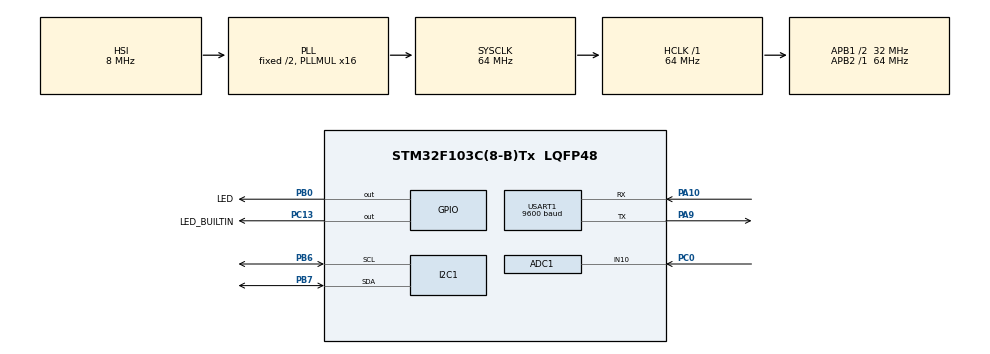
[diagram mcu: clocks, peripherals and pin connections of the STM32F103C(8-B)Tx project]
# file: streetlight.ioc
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ADC1.Channel-0\#ChannelRegularConversion=ADC_CHANNEL_10
ADC1.NbrOfConversionFlag=1
ADC1.Rank-0\#ChannelRegularConversion=1
ADC1.SamplingTime-0\#ChannelRegularConversion=ADC_SAMPLETIME_55CYCLES_5
ADC1.master=1
Mcu.Family=STM32F1
Mcu.Name=STM32F103C(8-B)Tx
Mcu.Package=LQFP48
NVIC.PriorityGroup=NVIC_PRIORITYGROUP_4
PA13.Signal=SYS_JTMS-SWDIO
PA14.Signal=SYS_JTCK-SWCLK
PB0.GPIO_Label=LED
PB0.GPIO_ModeDefaultOutputPP=GPIO_MODE_OUTPUT_PP
PB0.GPIO_PuPd=GPIO_NOPULL
PB0.GPIO_Speed=GPIO_SPEED_FREQ_LOW
PB0.Signal=GPIO_Output
PC13.GPIO_Label=LED_BUILTIN
PC13.GPIO_ModeDefaultOutputPP=GPIO_MODE_OUTPUT_PP
PC13.GPIO_PuPd=GPIO_NOPULL
PC13.GPIO_Speed=GPIO_SPEED_FREQ_LOW
PC13.Signal=GPIO_Output
PC0.Signal=ADCx_IN10
PA10.Mode=Asynchronous
PA10.Signal=USART1_RX
PA9.Mode=Asynchronous
PA9.Signal=USART1_TX
PB6.Mode=I2C
PB6.Signal=I2C1_SCL
PB7.Mode=I2C
PB7.Signal=I2C1_SDA
ProjectManager.HeapSize=0x200
ProjectManager.StackSize=0x400
ProjectManager.TargetToolchain=STM32CubeIDE
RCC.ADCPresc=RCC_ADCPCLK2_DIV6
RCC.AHBFreq_Value=64000000
RCC.APB1CLKDivider=RCC_HCLK_DIV2
RCC.APB1Freq_Value=32000000
RCC.APB1TimFreq_Value=64000000
RCC.APB2Freq_Value=64000000
RCC.APB2TimFreq_Value=64000000
RCC.HCLKFreq_Value=64000000
RCC.PLLMUL=RCC_PLL_MUL16
RCC.SYSCLKFreq_VALUE=64000000
RCC.SYSCLKSource=RCC_SYSCLKSOURCE_PLLCLK
RCC.USBFreq_Value=64000000
SH.ADCx_IN10.0=ADC1_IN10,IN10
SYS.Debug=Serial_Wire
USART1.BaudRate=9600
USART1.VirtualMode=VM_ASYNC
VP_SYS_VS_ND.Mode=No_Debug
board=custom

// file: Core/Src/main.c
/* USER CODE BEGIN Header */
/**
  ******************************************************************************
  * @file           : main.c
  * @brief          : Main program body
  ******************************************************************************
  * @attention
  *
  * Copyright (c) 2026 STMicroelectronics.
  * All rights reserved.
  *
  * This software is licensed under terms that can be found in the LICENSE file
  * in the root directory of this software component.
  * If no LICENSE file comes with this software, it is provided AS-IS.
  *
  ******************************************************************************
  */
/* USER CODE END Header */
#include "main.h"

/* USER CODE BEGIN Includes */
#include <stdio.h>

/* USER CODE END Includes */

/* USER CODE BEGIN PD */
#define LIGHT_DARK_THRESHOLD 2000U
#define LIGHT_THRESHOLD_HYSTERESIS 100U
#define LDR_DARK_READING_IS_LOW 1U
#define ADC_POLL_TIMEOUT_MS 100U
#define UART_TX_TIMEOUT_MS 100U

/* USER CODE END PD */

ADC_HandleTypeDef hadc1;

I2C_HandleTypeDef hi2c1;

UART_HandleTypeDef huart1;

/* USER CODE BEGIN PV */
static uint8_t is_dark = 0U;

/* USER CODE END PV */

void SystemClock_Config(void);
static void MX_GPIO_Init(void);
static void MX_ADC1_Init(void);
static void MX_I2C1_Init(void);
static void MX_USART1_UART_Init(void);

int main(void)
{

  /* MCU Configuration--------------------------------------------------------*/

  /* Reset of all peripherals, Initializes the Flash interface and the Systick. */
  HAL_Init();

  /* Configure the system clock */
  SystemClock_Config();

  /* Initialize all configured peripherals */
  MX_GPIO_Init();
  MX_ADC1_Init();
  MX_I2C1_Init();
  MX_USART1_UART_Init();
  /* USER CODE BEGIN 2 */
  if (HAL_ADCEx_Calibration_Start(&hadc1) != HAL_OK)
  {
    Error_Handler();
  }

  /* USER CODE END 2 */

  /* Infinite loop */
  while (1)
  {

    /* USER CODE BEGIN 3 */
    uint32_t light_level;
    char uart_message[40];
    int message_length;

    if (HAL_ADC_Start(&hadc1) == HAL_OK)
    {
      if (HAL_ADC_PollForConversion(&hadc1, ADC_POLL_TIMEOUT_MS) == HAL_OK)
      {
        light_level = HAL_ADC_GetValue(&hadc1);
        HAL_ADC_Stop(&hadc1);

#if LDR_DARK_READING_IS_LOW
        if (is_dark != 0U)
        {
          if (light_level >= LIGHT_DARK_THRESHOLD + LIGHT_THRESHOLD_HYSTERESIS)
          {
            is_dark = 0U;
          }
        }
        else if (light_level <= LIGHT_DARK_THRESHOLD)
        {
          is_dark = 1U;
        }
#else
        if (is_dark != 0U)
        {
          if (light_level <= LIGHT_DARK_THRESHOLD - LIGHT_THRESHOLD_HYSTERESIS)
          {
            is_dark = 0U;
          }
        }
        else if (light_level >= LIGHT_DARK_THRESHOLD)
        {
          is_dark = 1U;
        }
#endif

        HAL_GPIO_WritePin(GPIOB, GPIO_PIN_0, is_dark ? GPIO_PIN_SET : GPIO_PIN_RESET);
        HAL_GPIO_WritePin(GPIOC, GPIO_PIN_13, is_dark ? GPIO_PIN_RESET : GPIO_PIN_SET);
        message_length = snprintf(uart_message, sizeof(uart_message),
                                  "LIGHT=%lu;STATE=%s\r\n",
                                  (unsigned long)light_level,
                                  is_dark ? "NIGHT" : "DAY");
        if ((message_length > 0) && ((size_t)message_length < sizeof(uart_message)))
        {
          if (HAL_UART_Transmit(&huart1, (uint8_t *)uart_message,
                                (uint16_t)message_length, UART_TX_TIMEOUT_MS) != HAL_OK)
          {
            HAL_UART_AbortTransmit(&huart1);
          }
        }
      }
      else
      {
        HAL_ADC_Stop(&hadc1);
      }
    }
    HAL_Delay(1000U);
  }
  /* USER CODE END 3 */
}

void SystemClock_Config(void)
{
  RCC_OscInitTypeDef RCC_OscInitStruct = {0};
  RCC_ClkInitTypeDef RCC_ClkInitStruct = {0};
  RCC_PeriphCLKInitTypeDef PeriphClkInit = {0};

  /** Initializes the RCC Oscillators according to the specified parameters
  * in the RCC_OscInitTypeDef structure.
  */
  RCC_OscInitStruct.OscillatorType = RCC_OSCILLATORTYPE_HSI;
  RCC_OscInitStruct.HSIState = RCC_HSI_ON;
  RCC_OscInitStruct.HSICalibrationValue = RCC_HSICALIBRATION_DEFAULT;
  RCC_OscInitStruct.PLL.PLLState = RCC_PLL_ON;
  RCC_OscInitStruct.PLL.PLLSource = RCC_PLLSOURCE_HSI_DIV2;
  RCC_OscInitStruct.PLL.PLLMUL = RCC_PLL_MUL16;
  if (HAL_RCC_OscConfig(&RCC_OscInitStruct) != HAL_OK)
  {
    Error_Handler();
  }

  /** Initializes the CPU, AHB and APB buses clocks
  */
  RCC_ClkInitStruct.ClockType = RCC_CLOCKTYPE_HCLK|RCC_CLOCKTYPE_SYSCLK
                              |RCC_CLOCKTYPE_PCLK1|RCC_CLOCKTYPE_PCLK2;
  RCC_ClkInitStruct.SYSCLKSource = RCC_SYSCLKSOURCE_PLLCLK;
  RCC_ClkInitStruct.AHBCLKDivider = RCC_SYSCLK_DIV1;
  RCC_ClkInitStruct.APB1CLKDivider = RCC_HCLK_DIV2;
  RCC_ClkInitStruct.APB2CLKDivider = RCC_HCLK_DIV1;

  if (HAL_RCC_ClockConfig(&RCC_ClkInitStruct, FLASH_LATENCY_2) != HAL_OK)
  {
    Error_Handler();
  }
  PeriphClkInit.PeriphClockSelection = RCC_PERIPHCLK_ADC;
  PeriphClkInit.AdcClockSelection = RCC_ADCPCLK2_DIV6;
  if (HAL_RCCEx_PeriphCLKConfig(&PeriphClkInit) != HAL_OK)
  {
    Error_Handler();
  }
}

static void MX_ADC1_Init(void)
{

  ADC_ChannelConfTypeDef sConfig = {0};

  /** Common config
  */
  hadc1.Instance = ADC1;
  hadc1.Init.ScanConvMode = ADC_SCAN_DISABLE;
  hadc1.Init.ContinuousConvMode = DISABLE;
  hadc1.Init.DiscontinuousConvMode = DISABLE;
  hadc1.Init.ExternalTrigConv = ADC_SOFTWARE_START;
  hadc1.Init.DataAlign = ADC_DATAALIGN_RIGHT;
  hadc1.Init.NbrOfConversion = 1;
  if (HAL_ADC_Init(&hadc1) != HAL_OK)
  {
    Error_Handler();
  }

  /** Configure Regular Channel
  */
  sConfig.Channel = ADC_CHANNEL_10;
  sConfig.Rank = ADC_REGULAR_RANK_1;
  sConfig.SamplingTime = ADC_SAMPLETIME_55CYCLES_5;
  if (HAL_ADC_ConfigChannel(&hadc1, &sConfig) != HAL_OK)
  {
    Error_Handler();
  }

}

static void MX_I2C1_Init(void)
{

  hi2c1.Instance = I2C1;
  hi2c1.Init.ClockSpeed = 100000;
  hi2c1.Init.DutyCycle = I2C_DUTYCYCLE_2;
  hi2c1.Init.OwnAddress1 = 0;
  hi2c1.Init.AddressingMode = I2C_ADDRESSINGMODE_7BIT;
  hi2c1.Init.DualAddressMode = I2C_DUALADDRESS_DISABLE;
  hi2c1.Init.OwnAddress2 = 0;
  hi2c1.Init.GeneralCallMode = I2C_GENERALCALL_DISABLE;
  hi2c1.Init.NoStretchMode = I2C_NOSTRETCH_DISABLE;
  if (HAL_I2C_Init(&hi2c1) != HAL_OK)
  {
    Error_Handler();
  }

}

static void MX_USART1_UART_Init(void)
{

  huart1.Instance = USART1;
  huart1.Init.BaudRate = 9600;
  huart1.Init.WordLength = UART_WORDLENGTH_8B;
  huart1.Init.StopBits = UART_STOPBITS_1;
  huart1.Init.Parity = UART_PARITY_NONE;
  huart1.Init.Mode = UART_MODE_TX_RX;
  huart1.Init.HwFlowCtl = UART_HWCONTROL_NONE;
  huart1.Init.OverSampling = UART_OVERSAMPLING_16;
  if (HAL_UART_Init(&huart1) != HAL_OK)
  {
    Error_Handler();
  }

}

static void MX_GPIO_Init(void)
{

  /* GPIO Ports Clock Enable */
  __HAL_RCC_GPIOA_CLK_ENABLE();
  __HAL_RCC_GPIOB_CLK_ENABLE();
  __HAL_RCC_GPIOC_CLK_ENABLE();
  GPIO_InitTypeDef GPIO_InitStruct = {0};

  HAL_GPIO_WritePin(GPIOB, GPIO_PIN_0, GPIO_PIN_RESET);
  HAL_GPIO_WritePin(GPIOC, GPIO_PIN_13, GPIO_PIN_SET);
  GPIO_InitStruct.Pin = GPIO_PIN_0;
  GPIO_InitStruct.Mode = GPIO_MODE_OUTPUT_PP;
  GPIO_InitStruct.Pull = GPIO_NOPULL;
  GPIO_InitStruct.Speed = GPIO_SPEED_FREQ_LOW;
  HAL_GPIO_Init(GPIOB, &GPIO_InitStruct);

  GPIO_InitStruct.Pin = GPIO_PIN_13;
  HAL_GPIO_Init(GPIOC, &GPIO_InitStruct);

}

void Error_Handler(void)
{
  __disable_irq();
  while (1)
  {
  }
}
